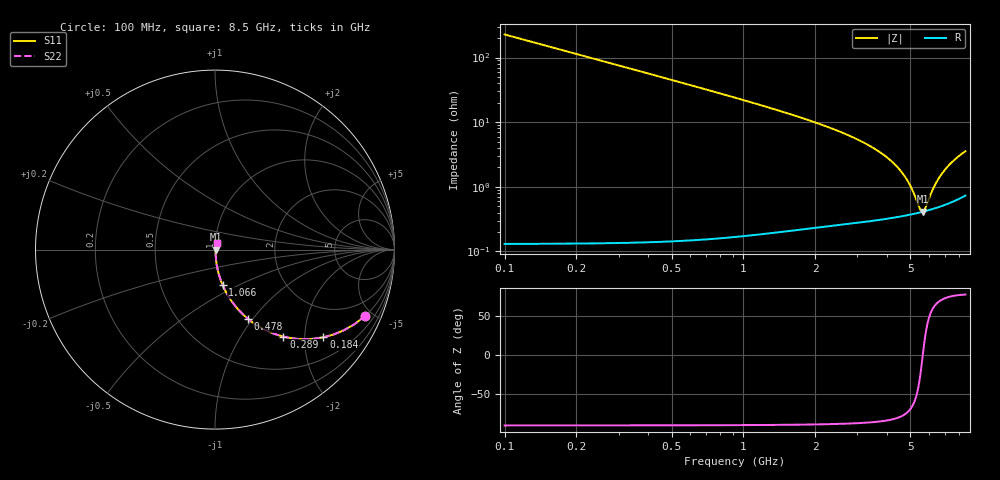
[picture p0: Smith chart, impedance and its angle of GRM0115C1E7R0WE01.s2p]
!Murata Part Number: GRM0115C1E7R0WE01
!These Parameters are Measured in Series Mode Connection
!Data Generated on Mar 30, 2021
!  o--ll--o
!Port1  Port2
!  o------o
!Operation Temp=25[degC], DC Bias Voltage=0[V]
!Freq. Start=100[MHz] Stop=9[GHz] 401[Steps]
# Hz S RI R 50
!Freq.(Hz) S11(Real) S11(Imag) S21(Real) S21(Imag) S12(Real) S12(Imag) S22(Real) S22(Imag)
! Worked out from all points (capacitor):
!   401 points, 100 MHz to 8.5 GHz, reference 50 ohm
!   read as one part in series: C = 7 pF near 142 MHz
!   lowest |Z| = 411 mohm at 5.623 GHz (marker M1)
!   series resonance near 5.634 GHz, so ESL is about 110 pH
!   S11 on the Smith chart (normalised r, x): 100 MHz: 1.00, -4.55; 184 MHz: 1.00, -2.47; 289 MHz: 1.00, -1.57; 478 MHz: 1.00, -0.94; 1.066 GHz: 1.00, -0.41; 8.5 GHz: 1.01, +0.07
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1e8  0.8377 -0.3685  0.1623 0.3685  0.1623 0.3685  0.8377 -0.3685
1.84e8  0.6036 -0.4886  0.3964 0.4886  0.3964 0.4886  0.6036 -0.4886
2.89e8  0.3811 -0.4848  0.6189 0.4848  0.6189 0.4848  0.3811 -0.4848
3.73e8  0.2695 -0.4426  0.7305 0.4426  0.7305 0.4426  0.2695 -0.4426
4.78e8  0.1829 -0.3851  0.8171 0.3851  0.8171 0.3851  0.1829 -0.3851
7.09e8  0.0915 -0.2859  0.9085 0.2859  0.9085 0.2859  0.0915 -0.2859
1.066e9  0.0419 -0.1962  0.9581 0.1962  0.9581 0.1962  0.0419 -0.1962
1.507e9  0.021 -0.1364  0.979 0.1364  0.979 0.1364  0.021 -0.1364
2.914e9  0.00594 -0.0564  0.9941 0.0564  0.9941 0.0564  0.00594 -0.0564
3.733e9  0.00423 -0.0338  0.9958 0.0338  0.9958 0.0338  0.00423 -0.0338
4.3e9  0.00382 -0.0219  0.9962 0.0219  0.9962 0.0219  0.00382 -0.0219
4.867e9  0.00377 -0.0118  0.9962 0.0118  0.9962 0.0118  0.00377 -0.0118
5.119e9  0.00383 -0.00771  0.9962 0.00771  0.9962 0.00771  0.00383 -0.00771
5.476e9  0.004 -0.00228  0.996 0.00228  0.996 0.00228  0.004 -0.00228
5.623e9  0.00409 -0.000154  0.9959 0.000154  0.9959 0.000154  0.00409 -0.000154
5.707e9  0.00415 0.00104  0.9959 -0.00104  0.9959 -0.00104  0.00415 0.00104
6.127e9  0.0045 0.00677  0.9955 -0.00677  0.9955 -0.00677  0.0045 0.00677
6.379e9  0.00477 0.01  0.9952 -0.01  0.9952 -0.01  0.00477 0.01
6.715e9  0.00517 0.0143  0.9948 -0.0143  0.9948 -0.0143  0.00517 0.0143
7.114e9  0.00573 0.019  0.9943 -0.019  0.9943 -0.019  0.00573 0.019
7.744e9  0.00681 0.0262  0.9932 -0.0262  0.9932 -0.0262  0.00681 0.0262
8.5e9  0.00845 0.0343  0.9915 -0.0343  0.9915 -0.0343  0.00845 0.0343
